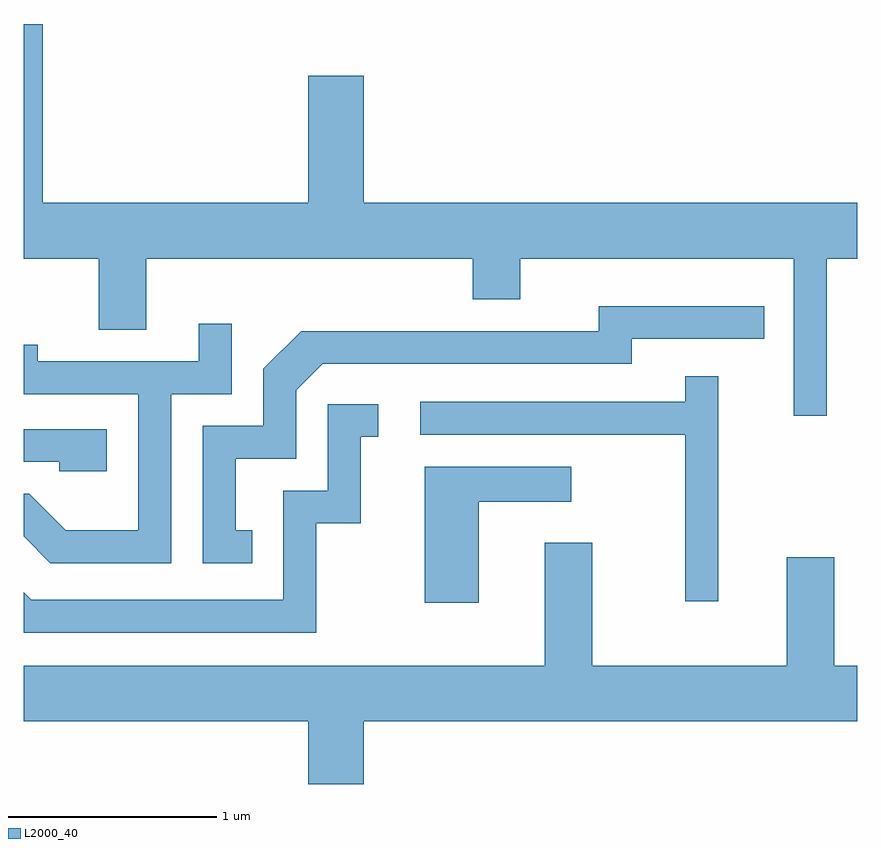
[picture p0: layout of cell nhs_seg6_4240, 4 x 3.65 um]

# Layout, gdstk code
import gdstk
lib = gdstk.Library(unit=1e-6, precision=1e-09)
def P(c, l, *ps):  # polygons
    for p in ps: c.add(gdstk.Polygon(p, *l))
L2000_40 = (2000, 40)

nhs_seg6_4240 = lib.new_cell('nhs_seg6_4240')
P(nhs_seg6_4240, L2000_40, [(317.464,1661.036),(317.611,1661.036),(317.611,1661.304),(315.244,1661.304),(315.244,1661.914),(314.976,1661.914),(314.976,1661.304),(313.704,1661.304),(313.704,1662.162),(313.611,1662.162),(313.611,1661.036),(313.971,1661.036),(313.971,1660.696),(314.199,1660.696),(314.199,1661.036),(315.766,1661.036),(315.766,1660.841),(315.994,1660.841),(315.994,1661.036),(317.306,1661.036),(317.306,1660.283),(317.464,1660.283)],
  [(314.708,1659.734),(314.629,1659.734),(314.629,1660.076),(314.919,1660.076),(314.919,1660.404),(315.047,1660.531),(316.529,1660.531),(316.529,1660.651),(317.163,1660.651),(317.163,1660.809),(316.371,1660.809),(316.371,1660.689),(314.944,1660.689),(314.761,1660.507),(314.761,1660.234),(314.471,1660.234),(314.471,1659.576),(314.708,1659.576)],
  [(314.319,1660.386),(314.609,1660.386),(314.609,1660.723),(314.451,1660.723),(314.451,1660.544),(313.679,1660.544),(313.679,1660.623),(313.611,1660.623),(313.611,1660.386),(314.161,1660.386),(314.161,1659.734),(313.812,1659.734),(313.637,1659.909),(313.611,1659.909),(313.611,1659.704),(313.739,1659.576),(314.319,1659.576)],
  [(316.944,1660.473),(316.786,1660.473),(316.786,1660.349),(315.513,1660.349),(315.513,1660.191),(316.786,1660.191),(316.786,1659.393),(316.944,1659.393)],
  [(315.014,1659.766),(315.229,1659.766),(315.229,1660.181),(315.313,1660.181),(315.313,1660.339),(315.071,1660.339),(315.071,1659.924),(314.856,1659.924),(314.856,1659.399),(313.647,1659.399),(313.611,1659.435),(313.611,1659.241),(315.014,1659.241)],
  [(314.009,1660.219),(313.611,1660.219),(313.611,1660.061),(313.781,1660.061),(313.781,1660.016),(314.009,1660.016)],
  [(315.794,1659.871),(316.238,1659.871),(316.238,1660.039),(315.536,1660.039),(315.536,1659.386),(315.794,1659.386)],
  [(315.244,1658.816),(317.611,1658.816),(317.611,1659.084),(317.499,1659.084),(317.499,1659.604),(317.271,1659.604),(317.271,1659.084),(316.339,1659.084),(316.339,1659.674),(316.111,1659.674),(316.111,1659.084),(313.611,1659.084),(313.611,1658.816),(314.976,1658.816),(314.976,1658.516),(315.244,1658.516)])

lib.write_gds('nhs_seg6_4240.gds')
